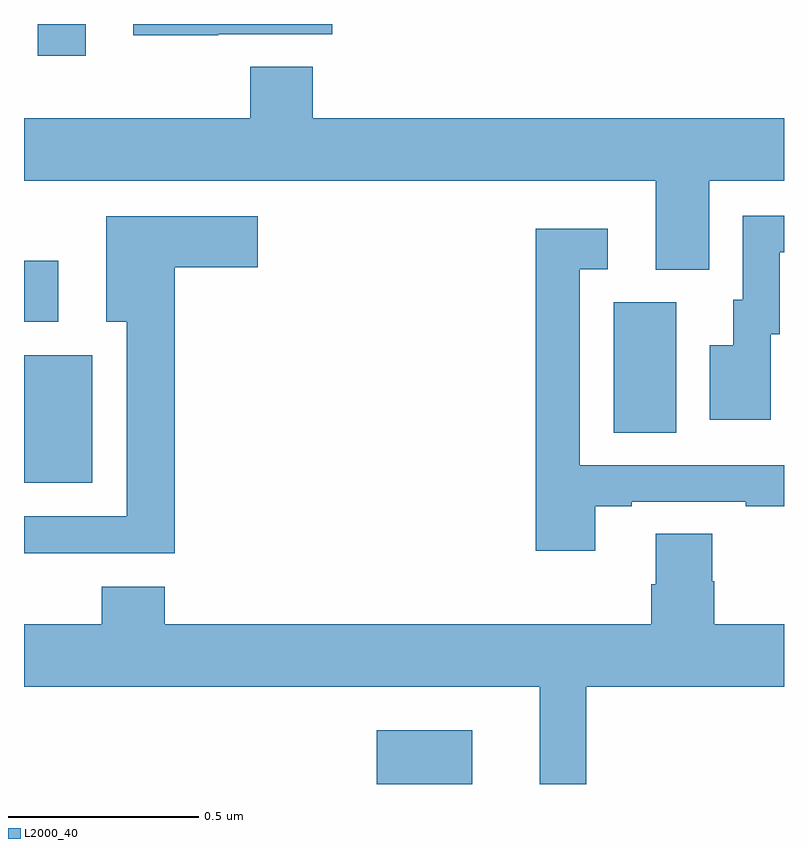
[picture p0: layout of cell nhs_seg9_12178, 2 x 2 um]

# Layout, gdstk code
import gdstk
lib = gdstk.Library(unit=1e-6, precision=1e-09)
def R(c, l, rs):  # rectangles x0, y0, x1, y1
    for r in rs: c.add(gdstk.rectangle(r[:2], r[2:], *l))
def P(c, l, *ps):  # polygons
    for p in ps: c.add(gdstk.Polygon(p, *l))
L2000_40 = (2000, 40)

nhs_seg9_12178 = lib.new_cell('nhs_seg9_12178')
R(nhs_seg9_12178, L2000_40, [(265.928,1193.5,266.179,1193.641), (265,1194.293,265.18,1194.628), (266.552,1194.424,266.716,1194.768), (265,1194.717,265.09,1194.877), (265.036,1195.416,265.162,1195.5)])
P(nhs_seg9_12178, L2000_40, [(265.511,1195.473),(265.811,1195.473),(265.811,1195.5),(265.287,1195.5),(265.287,1195.471),(265.511,1195.471)],
  [(266.803,1195.088),(267,1195.088),(267,1195.252),(265.76,1195.252),(265.76,1195.388),(265.595,1195.388),(265.595,1195.252),(265,1195.252),(265,1195.088),(266.663,1195.088),(266.663,1194.853),(266.803,1194.853)],
  [(266.965,1194.684),(266.989,1194.684),(266.989,1194.9),(267,1194.9),(267,1194.996),(266.892,1194.996),(266.892,1194.774),(266.867,1194.774),(266.867,1194.655),(266.804,1194.655),(266.804,1194.459),(266.965,1194.459)],
  [(265.397,1194.86),(265.615,1194.86),(265.615,1194.994),(265.217,1194.994),(265.217,1194.716),(265.271,1194.716),(265.271,1194.204),(265,1194.204),(265,1194.107),(265.397,1194.107)],
  [(266.503,1194.231),(266.599,1194.231),(266.599,1194.243),(266.899,1194.243),(266.899,1194.231),(267,1194.231),(267,1194.339),(266.463,1194.339),(266.463,1194.855),(266.536,1194.855),(266.536,1194.961),(266.347,1194.961),(266.347,1194.114),(266.503,1194.114)],
  [(266.479,1193.756),(267,1193.756),(267,1193.92),(266.816,1193.92),(266.816,1194.033),(266.811,1194.033),(266.811,1194.158),(266.663,1194.158),(266.663,1194.026),(266.651,1194.026),(266.651,1193.92),(265.37,1193.92),(265.37,1194.019),(265.205,1194.019),(265.205,1193.92),(265,1193.92),(265,1193.756),(266.357,1193.756),(266.357,1193.5),(266.479,1193.5)])

lib.write_gds('nhs_seg9_12178.gds')
